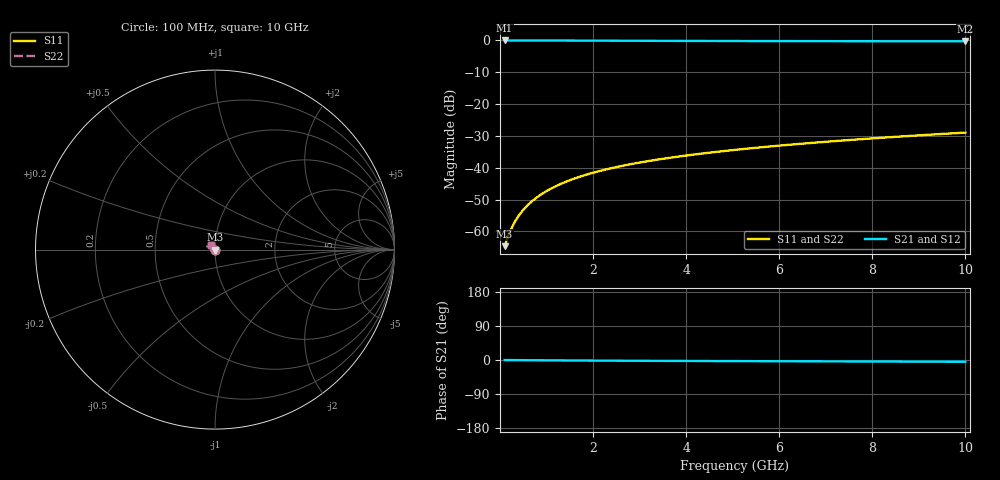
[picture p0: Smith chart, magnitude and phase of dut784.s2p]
! Touchstone file exported from HFSS 2024.1.0
!  File:  C:/UserFiles/LocalFiles/RDL_TSV_Batchsim/temp_TSV1_784_1779874765.aedt
!  Generated:  05:45:58 PM May 27, 2026
!  Design:  TSV1
!  Project:  temp_TSV1_784_1779874765
!  Setup:  Setup1
!  Solution:  Sweep
! Variables:
!  dtsv = 5.48um
!  hbump = 3um
!  htsv = 64um
!  lrdl = 252.1521522um
!  p = 40
!  p1 = 54.7um
!  t = 500um
!  trdl = 3um
!  wrdl = 24.89489489um
# GHz S MA R 50.000000
! Terminal data exported
! Port[1] = TSV22_T1
! Port[2] = TSV22_T2
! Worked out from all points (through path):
!   100 points, 100 MHz to 10 GHz, reference 50 ohm
!   highest |S21| = 0.00 dB at 100 MHz (marker M1); lowest = -0.3 dB at 10 GHz (marker M2)
!   lowest |S11| = -64.6 dB at 100 MHz (marker M3), VSWR 1.00, Z = 50 - j0.0444 ohm
!   |S11| at or under -10 dB: start of sweep to end of sweep
!   |S22| runs from -64.6 to -29.0 dB; largest |S21 - S12| = 3.6e-15
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0.1  0.0005864 -49.2  0.9996 -0.1  0.9996 -0.1  0.0005864 -49.2
! Gamma 0 0 0 0
! Port Impedance 50 0 50 0
0.2  0.0009412 -70.4  0.9995 -0.2  0.9995 -0.2  0.0009412 -70.4
0.3  0.001341 -81.2  0.9994 -0.3  0.9994 -0.3  0.001341 -81.2
0.4  0.001757 -88.2  0.9992 -0.4  0.9992 -0.4  0.001757 -88.2
0.5  0.00218 -93.5  0.999 -0.4  0.999 -0.4  0.00218 -93.5
0.6  0.002606 -98.0  0.9988 -0.5  0.9988 -0.5  0.002606 -98.0
0.7  0.003033 -101.8  0.9985 -0.6  0.9985 -0.6  0.003033 -101.8
0.8  0.003458 -105.4  0.9982 -0.7  0.9982 -0.7  0.003458 -105.4
0.9  0.003882 -108.7  0.9979 -0.8  0.9979 -0.8  0.003882 -108.7
1  0.004303 -111.8  0.9975 -0.8  0.9975 -0.8  0.004303 -111.8
1.2  0.005138 -117.7  0.9967 -1.0  0.9967 -1.0  0.005138 -117.7
1.5  0.006367 -125.9  0.9953 -1.2  0.9953 -1.2  0.006367 -125.9
1.8  0.007565 -133.5  0.9938 -1.4  0.9938 -1.4  0.007565 -133.5
2.1  0.008732 -140.5  0.9923 -1.6  0.9923 -1.6  0.008732 -140.5
2.5  0.01024 -149.2  0.9901 -1.8  0.9901 -1.8  0.01024 -149.2
2.9  0.01171 -157.2  0.9881 -2.1  0.9881 -2.1  0.01171 -157.2
3.4  0.01348 -166.2  0.9856 -2.3  0.9856 -2.3  0.01348 -166.2
4.2  0.01624 -178.6  0.9822 -2.6  0.9822 -2.6  0.01624 -178.6
5.1  0.01926 169.9  0.9791 -3.0  0.9791 -3.0  0.01926 169.9
6.7  0.02458 154.3  0.975 -3.5  0.975 -3.5  0.02458 154.3
8.4  0.03026 142.5  0.9722 -4.1  0.9722 -4.1  0.03026 142.5
10  0.03568 134.2  0.9702 -4.6  0.9702 -4.6  0.03568 134.2
